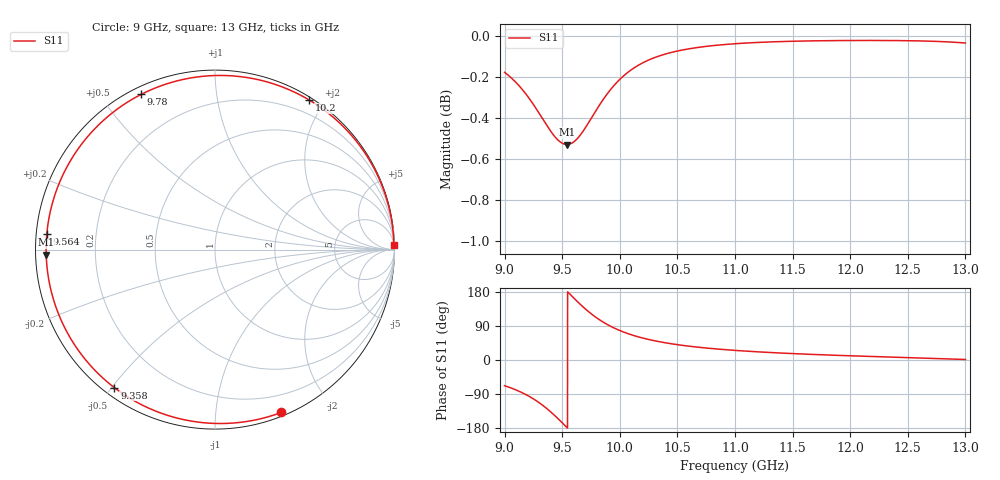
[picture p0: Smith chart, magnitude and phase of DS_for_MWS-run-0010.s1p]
! TOUCHSTONE file generated by CST DESIGN STUDIO
! Date and time: Tue Feb  4 14:20:58 2025
! Project name: C:\Work\MatlabApps\UnitCellOptimizationMatlab\CST\unitcell.cst
! Tree item: Tasks\Sweep1\SPara1\S-Parameters
! Header version: 2024
! Port assignment regex: !\s*Touchstone port\s*([0-9]+)\s*=\s*(CST MWS port|CST DES external port|CST DES block port)\s*(.+)\s* \(\"(.*)\"\)(\s*mode\s*([0-9]+))?.*
! Touchstone port assignment:
! Touchstone port 1 = CST DES external port 1 ("")
# GHz S MA R 50
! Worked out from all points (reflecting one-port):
!   4001 points, 9 GHz to 13 GHz, reference 50 ohm
!   lowest |S11| = -0.5 dB at 9.541 GHz (marker M1), VSWR 32.86, Z = 1.52 - j0.767 ohm
!   phase of S11 starts at -68 deg and turns -291 deg over the sweep
!   S11 on the Smith chart (normalised r, x): 9 GHz: 0.03, -1.49; 9.358 GHz: 0.03, -0.51; 9.564 GHz: 0.03, +0.05; 9.78 GHz: 0.03, +0.63; 10.2 GHz: 0.03, +1.81; 13 GHz: 14, +81
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9  0.9797 -67.9
9.104  0.9738 -79.7
9.214  0.9655 -96.1
9.29  0.9585 -110.6
9.358  0.9518 -126.1
9.426  0.9458 -144.0
9.465  0.9432 -155.2
9.5  0.9416 -165.7
9.541  0.9409 -178.2
9.564  0.9411 174.7
9.618  0.9432 158.2
9.678  0.9477 140.9
9.728  0.9524 127.7
9.78  0.9576 115.4
9.826  0.9622 105.7
9.877  0.9668 96.1
9.938  0.9717 86.3
10  0.9759 77.8
10.096  0.9809 67.0
10.201  0.985 57.8
10.338  0.9886 48.6
10.5  0.9915 40.5
10.721  0.9938 32.5
11  0.9955 25.3
11.5  0.9969 16.9
12  0.9973 11.1
12.5  0.9972 6.3
13  0.9959 1.4
